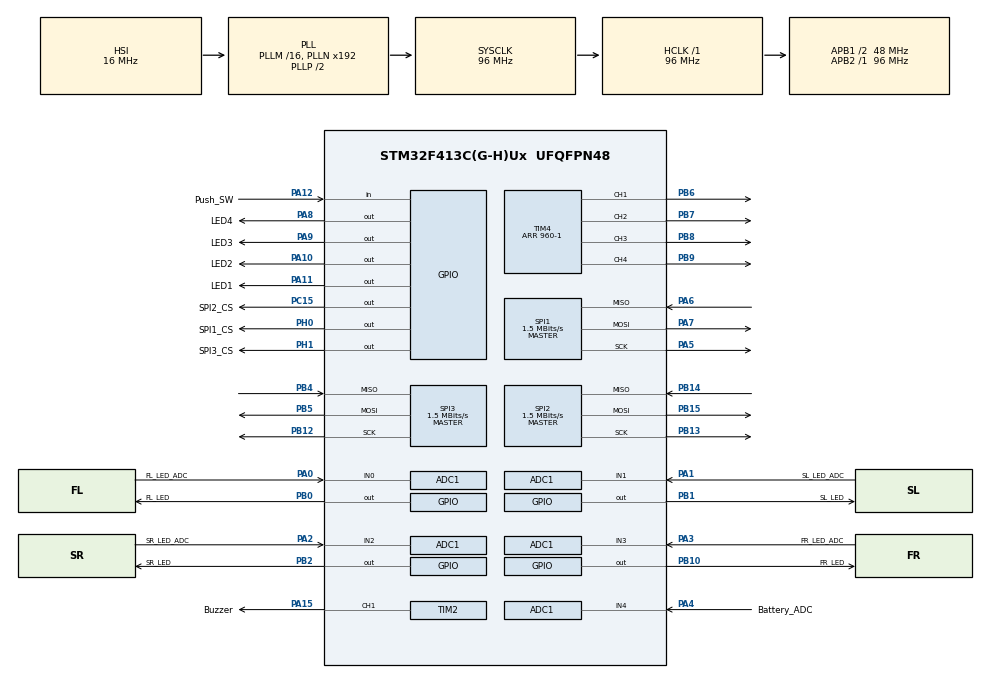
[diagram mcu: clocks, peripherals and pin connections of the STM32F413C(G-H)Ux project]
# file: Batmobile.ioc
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ADC1.Channel-0\#ChannelRegularConversion=ADC_CHANNEL_4
ADC1.Channel-1\#ChannelRegularConversion=ADC_CHANNEL_0
ADC1.Channel-2\#ChannelRegularConversion=ADC_CHANNEL_1
ADC1.Channel-3\#ChannelRegularConversion=ADC_CHANNEL_2
ADC1.Channel-4\#ChannelRegularConversion=ADC_CHANNEL_3
ADC1.DMAContinuousRequests=ENABLE
ADC1.EOCSelection=ADC_EOC_SEQ_CONV
ADC1.ExternalTrigConv=ADC_EXTERNALTRIGCONV_T1_CC3
ADC1.ExternalTrigConvEdge=ADC_EXTERNALTRIGCONVEDGE_RISINGFALLING
ADC1.NbrOfConversion=5
ADC1.NbrOfConversionFlag=1
ADC1.Rank-0\#ChannelRegularConversion=1
ADC1.Rank-1\#ChannelRegularConversion=2
ADC1.Rank-2\#ChannelRegularConversion=3
ADC1.Rank-3\#ChannelRegularConversion=4
ADC1.Rank-4\#ChannelRegularConversion=5
ADC1.SamplingTime-0\#ChannelRegularConversion=ADC_SAMPLETIME_56CYCLES
ADC1.SamplingTime-1\#ChannelRegularConversion=ADC_SAMPLETIME_56CYCLES
ADC1.SamplingTime-2\#ChannelRegularConversion=ADC_SAMPLETIME_56CYCLES
ADC1.SamplingTime-3\#ChannelRegularConversion=ADC_SAMPLETIME_56CYCLES
ADC1.SamplingTime-4\#ChannelRegularConversion=ADC_SAMPLETIME_56CYCLES
ADC1.ScanConvMode=ENABLE
ADC1.master=1
Dma.ADC1.2.Direction=DMA_PERIPH_TO_MEMORY
Dma.ADC1.2.FIFOMode=DMA_FIFOMODE_DISABLE
Dma.ADC1.2.Instance=DMA2_Stream0
Dma.ADC1.2.MemDataAlignment=DMA_MDATAALIGN_HALFWORD
Dma.ADC1.2.MemInc=DMA_MINC_ENABLE
Dma.ADC1.2.Mode=DMA_CIRCULAR
Dma.ADC1.2.PeriphDataAlignment=DMA_PDATAALIGN_HALFWORD
Dma.ADC1.2.PeriphInc=DMA_PINC_DISABLE
Dma.ADC1.2.Priority=DMA_PRIORITY_LOW
Dma.Request0=SPI2_RX
Dma.Request1=SPI2_TX
Dma.Request2=ADC1
Dma.SPI2_RX.0.Direction=DMA_PERIPH_TO_MEMORY
Dma.SPI2_RX.0.FIFOMode=DMA_FIFOMODE_DISABLE
Dma.SPI2_RX.0.Instance=DMA1_Stream3
Dma.SPI2_RX.0.MemDataAlignment=DMA_MDATAALIGN_BYTE
Dma.SPI2_RX.0.MemInc=DMA_MINC_ENABLE
Dma.SPI2_RX.0.Mode=DMA_NORMAL
Dma.SPI2_RX.0.PeriphDataAlignment=DMA_PDATAALIGN_BYTE
Dma.SPI2_RX.0.PeriphInc=DMA_PINC_DISABLE
Dma.SPI2_RX.0.Priority=DMA_PRIORITY_HIGH
Dma.SPI2_TX.1.Direction=DMA_MEMORY_TO_PERIPH
Dma.SPI2_TX.1.FIFOMode=DMA_FIFOMODE_DISABLE
Dma.SPI2_TX.1.Instance=DMA1_Stream4
Dma.SPI2_TX.1.MemDataAlignment=DMA_MDATAALIGN_BYTE
Dma.SPI2_TX.1.MemInc=DMA_MINC_ENABLE
Dma.SPI2_TX.1.Mode=DMA_NORMAL
Dma.SPI2_TX.1.PeriphDataAlignment=DMA_PDATAALIGN_BYTE
Dma.SPI2_TX.1.PeriphInc=DMA_PINC_DISABLE
Dma.SPI2_TX.1.Priority=DMA_PRIORITY_HIGH
Mcu.Family=STM32F4
Mcu.Name=STM32F413C(G-H)Ux
Mcu.Package=UFQFPN48
NVIC.DMA1_Stream3_IRQn=true\:0\:0\:true\:false\:true\:false\:true
NVIC.DMA1_Stream4_IRQn=true\:0\:0\:true\:false\:true\:false\:true
NVIC.DMA2_Stream0_IRQn=true\:0\:0\:false\:false\:true\:false\:true
NVIC.PriorityGroup=NVIC_PRIORITYGROUP_4
NVIC.TIM1_CC_IRQn=true\:0\:0\:true\:false\:true\:true\:true
NVIC.TIM6_DAC_IRQn=true\:1\:0\:true\:false\:true\:true\:true
PA0.GPIO_Label=FL_LED_ADC
PA0.Signal=ADCx_IN0
PA1.GPIO_Label=SL_LED_ADC
PA1.Signal=ADCx_IN1
PA10.GPIO_Label=LED2
PA10.Signal=GPIO_Output
PA11.GPIO_Label=LED1
PA11.Signal=GPIO_Output
PA12.GPIO_Label=Push_SW
PA12.Signal=GPIO_Input
PA13.Mode=Trace_Asynchronous_SW
PA13.Signal=SYS_JTMS-SWDIO
PA14.Mode=Trace_Asynchronous_SW
PA14.Signal=SYS_JTCK-SWCLK
PA15.GPIO_Label=Buzzer
PA15.GPIO_PuPd=GPIO_PULLDOWN
PA15.Signal=S_TIM2_CH1_ETR
PA2.GPIO_Label=SR_LED_ADC
PA2.Signal=ADCx_IN2
PA3.GPIO_Label=FR_LED_ADC
PA3.Signal=ADCx_IN3
PA4.GPIO_Label=Battery_ADC
PA4.Signal=ADCx_IN4
PA5.Mode=Full_Duplex_Master
PA5.Signal=SPI1_SCK
PA6.Mode=Full_Duplex_Master
PA6.Signal=SPI1_MISO
PA7.Mode=Full_Duplex_Master
PA7.Signal=SPI1_MOSI
PA8.GPIO_Label=LED4
PA8.Signal=GPIO_Output
PA9.GPIO_Label=LED3
PA9.Signal=GPIO_Output
PB0.GPIO_Label=FL_LED
PB0.Signal=GPIO_Output
PB1.GPIO_Label=SL_LED
PB1.Signal=GPIO_Output
PB10.GPIO_Label=FR_LED
PB10.Signal=GPIO_Output
PB12.Mode=Full_Duplex_Master
PB12.Signal=SPI3_SCK
PB13.Mode=Full_Duplex_Master
PB13.Signal=SPI2_SCK
PB14.Mode=Full_Duplex_Master
PB14.Signal=SPI2_MISO
PB15.Mode=Full_Duplex_Master
PB15.Signal=SPI2_MOSI
PB2.GPIO_Label=SR_LED
PB2.Signal=GPIO_Output
PB3.Mode=Trace_Asynchronous_SW
PB3.Signal=SYS_JTDO-SWO
PB4.Mode=Full_Duplex_Master
PB4.Signal=SPI3_MISO
PB5.Mode=Full_Duplex_Master
PB5.Signal=SPI3_MOSI
PB6.Signal=S_TIM4_CH1
PB7.Signal=S_TIM4_CH2
PB8.Signal=S_TIM4_CH3
PB9.Signal=S_TIM4_CH4
PC15-OSC32_OUT.GPIO_Label=SPI2_CS
PC15-OSC32_OUT.GPIO_ModeDefaultOutputPP=GPIO_MODE_OUTPUT_PP
PC15-OSC32_OUT.GPIO_PuPd=GPIO_PULLUP
PC15-OSC32_OUT.PinState=GPIO_PIN_SET
PC15-OSC32_OUT.Signal=GPIO_Output
PH0\ -\ OSC_IN.GPIO_Label=SPI1_CS
PH0\ -\ OSC_IN.GPIO_ModeDefaultOutputPP=GPIO_MODE_OUTPUT_PP
PH0\ -\ OSC_IN.GPIO_PuPd=GPIO_PULLUP
PH0\ -\ OSC_IN.GPIO_Speed=GPIO_SPEED_FREQ_VERY_HIGH
PH0\ -\ OSC_IN.PinState=GPIO_PIN_SET
PH0\ -\ OSC_IN.Signal=GPIO_Output
PH1\ -\ OSC_OUT.GPIO_Label=SPI3_CS
PH1\ -\ OSC_OUT.GPIO_ModeDefaultOutputPP=GPIO_MODE_OUTPUT_PP
PH1\ -\ OSC_OUT.GPIO_PuPd=GPIO_PULLUP
PH1\ -\ OSC_OUT.GPIO_Speed=GPIO_SPEED_FREQ_VERY_HIGH
PH1\ -\ OSC_OUT.PinState=GPIO_PIN_SET
PH1\ -\ OSC_OUT.Signal=GPIO_Output
ProjectManager.HeapSize=0x200
ProjectManager.StackSize=0x400
ProjectManager.TargetToolchain=STM32CubeIDE
RCC.AHBFreq_Value=96000000
RCC.APB1CLKDivider=RCC_HCLK_DIV2
RCC.APB1Freq_Value=48000000
RCC.APB1TimFreq_Value=96000000
RCC.APB2Freq_Value=96000000
RCC.APB2TimFreq_Value=96000000
RCC.CortexFreq_Value=96000000
RCC.HCLKFreq_Value=96000000
RCC.SYSCLKFreq_VALUE=96000000
RCC.SYSCLKSource=RCC_SYSCLKSOURCE_PLLCLK
RCC.USBFreq_Value=96000000
RCC.VCOOutputFreq_Value=192000000
SH.ADCx_IN0.0=ADC1_IN0,IN0
SH.ADCx_IN1.0=ADC1_IN1,IN1
SH.ADCx_IN2.0=ADC1_IN2,IN2
SH.ADCx_IN3.0=ADC1_IN3,IN3
SH.ADCx_IN4.0=ADC1_IN4,IN4
SH.S_TIM2_CH1_ETR.0=TIM2_CH1,PWM Generation1 CH1
SH.S_TIM4_CH1.0=TIM4_CH1,PWM Generation1 CH1
SH.S_TIM4_CH2.0=TIM4_CH2,PWM Generation2 CH2
SH.S_TIM4_CH3.0=TIM4_CH3,PWM Generation3 CH3
SH.S_TIM4_CH4.0=TIM4_CH4,PWM Generation4 CH4
SPI1.BaudRatePrescaler=SPI_BAUDRATEPRESCALER_64
SPI1.CLKPhase=SPI_PHASE_2EDGE
SPI1.CLKPolarity=SPI_POLARITY_HIGH
SPI1.CalculateBaudRate=1.5 MBits/s
SPI1.DataSize=SPI_DATASIZE_8BIT
SPI1.Direction=SPI_DIRECTION_2LINES
SPI1.Mode=SPI_MODE_MASTER
SPI1.VirtualType=VM_MASTER
SPI2.BaudRatePrescaler=SPI_BAUDRATEPRESCALER_32
SPI2.CLKPhase=SPI_PHASE_2EDGE
SPI2.CLKPolarity=SPI_POLARITY_HIGH
SPI2.CalculateBaudRate=1.5 MBits/s
SPI2.Direction=SPI_DIRECTION_2LINES
SPI2.Mode=SPI_MODE_MASTER
SPI2.VirtualType=VM_MASTER
SPI3.BaudRatePrescaler=SPI_BAUDRATEPRESCALER_32
SPI3.CLKPhase=SPI_PHASE_2EDGE
SPI3.CLKPolarity=SPI_POLARITY_HIGH
SPI3.CalculateBaudRate=1.5 MBits/s
SPI3.DataSize=SPI_DATASIZE_8BIT
SPI3.Direction=SPI_DIRECTION_2LINES
SPI3.Mode=SPI_MODE_MASTER
SPI3.VirtualType=VM_MASTER
TIM1.Channel-Output\ Compare1\ No\ Output=TIM_CHANNEL_1
TIM1.Channel-Output\ Compare2\ No\ Output=TIM_CHANNEL_2
TIM1.Channel-Output\ Compare3\ No\ Output=TIM_CHANNEL_3
TIM1.OCMode_1=TIM_OCMODE_TOGGLE
TIM1.OCMode_2=TIM_OCMODE_TOGGLE
TIM1.OCMode_3=TIM_OCMODE_TOGGLE
TIM1.Period=64000-1
TIM1.Pulse-Output\ Compare1\ No\ Output=2
TIM1.Pulse-Output\ Compare2\ No\ Output=9600
TIM1.Pulse-Output\ Compare3\ No\ Output=5760
TIM2.Channel-PWM\ Generation1\ CH1=TIM_CHANNEL_1
TIM2.OCMode_PWM-PWM\ Generation1\ CH1=TIM_OCMODE_PWM2
TIM2.OCPolarity_1=TIM_OCPOLARITY_LOW
TIM2.Period=100
TIM2.Prescaler=960-1
TIM4.Channel-PWM\ Generation1\ CH1=TIM_CHANNEL_1
TIM4.Channel-PWM\ Generation2\ CH2=TIM_CHANNEL_2
TIM4.Channel-PWM\ Generation3\ CH3=TIM_CHANNEL_3
TIM4.Channel-PWM\ Generation4\ CH4=TIM_CHANNEL_4
TIM4.OCMode_PWM-PWM\ Generation1\ CH1=TIM_OCMODE_PWM2
TIM4.OCMode_PWM-PWM\ Generation2\ CH2=TIM_OCMODE_PWM2
TIM4.OCMode_PWM-PWM\ Generation3\ CH3=TIM_OCMODE_PWM2
TIM4.OCMode_PWM-PWM\ Generation4\ CH4=TIM_OCMODE_PWM2
TIM4.Period=960-1
TIM6.Period=24000-1
TIM6.Prescaler=4-1
VP_TIM1_VS_ClockSourceINT.Mode=Internal
VP_TIM1_VS_no_output1.Mode=Output Compare1 No Output
VP_TIM1_VS_no_output2.Mode=Output Compare2 No Output
VP_TIM1_VS_no_output3.Mode=Output Compare3 No Output
VP_TIM2_VS_ClockSourceINT.Mode=Internal
VP_TIM4_VS_ClockSourceINT.Mode=Internal
VP_TIM6_VS_ClockSourceINT.Mode=Enable_Timer
board=custom

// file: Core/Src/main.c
/* USER CODE BEGIN Header */
/**
  ******************************************************************************
  * @file           : main.c
  * @brief          : Main program body
  ******************************************************************************
  * @attention
  *
  * <h2><center>&copy; Copyright (c) 2020 STMicroelectronics.
  * All rights reserved.</center></h2>
  *
  * This software component is licensed by ST under BSD 3-Clause license,
  * the "License"; You may not use this file except in compliance with the
  * License. You may obtain a copy of the License at:
  *                        opensource.org/licenses/BSD-3-Clause
  *
  ******************************************************************************
  */
/* USER CODE END Header */

#include "main.h"
#include "adc.h"
#include "dma.h"
#include "spi.h"
#include "tim.h"
#include "gpio.h"

/* USER CODE BEGIN Includes */
#include"index.h"
#include "maze_init.h"
#include "maze_solve.h"
/* USER CODE END Includes */

/* USER CODE BEGIN PTD */
typedef enum {
	search_mode 	= 0,
 	fust_run_mode 	= 1,
} maze_search_flg;

/* USER CODE END PTD */

void SystemClock_Config(void);

/* USER CODE BEGIN 0 */
uint8_t temp[2];
int16_t temp1;
/* USER CODE END 0 */

int main(void)
{
  /* USER CODE BEGIN 1 */
//	char temp_str[200];
	  /*迷路変数定義*/
//	  static uint8_t maze_x_size = x_size;//x方向の壁の枚数(x方向のマスの数+1)
//	  static uint8_t maze_y_size = y_size;//y方向の壁の枚数(y方向のマスの数+1)
//	  static uint8_t goal_size = g_size; //ゴールのマスの数
//	  static uint8_t maze_goal[18] = goal_cordinate;
//	  static uint8_t m_wall_tmp[1024];//迷路情報格納用配列
//	  static uint8_t m_search_tmp[1024];//探索情報格納用配列

	//static uint8_t run_mode = search_mode;
//	uint8_t maze_data_mode = 0;
  /* USER CODE END 1 */

  /* MCU Configuration--------------------------------------------------------*/

  /* Reset of all peripherals, Initializes the Flash interface and the Systick. */
  HAL_Init();

  /* USER CODE BEGIN Init */
int16_t i = 0;
  /* USER CODE END Init */

  /* Configure the system clock */
  SystemClock_Config();

  /* Initialize all configured peripherals */
  MX_GPIO_Init();
  MX_DMA_Init();
  MX_ADC1_Init();
  MX_SPI1_Init();
  MX_SPI2_Init();
  MX_SPI3_Init();
  MX_TIM4_Init();
  MX_TIM6_Init();
  MX_TIM2_Init();
  MX_TIM1_Init();
  /* USER CODE BEGIN 2 */
  SEGGER_RTT_Init();
  IMU_Initialize();
  TIM2_PWM_START();
  Motor_Initialize();
  Interrupt_Initialize();

  /* USER CODE END 2 */

  /* Infinite loop */
  while (1)
  {

    /* USER CODE BEGIN 3 */

//	  	  while(1){
//	  		  	  IMU_Receive();
//	  		  	  IMU_GetGyro_Z();
//	  		  	  IMU_GetAccel_X();
//	  		  	  snprintf(temp_str,200,"%f,%f\r\n",
//	  		  						  IMU_GetGyro_Z(),
//	  		  						  IMU_GetAccel_X());
//	  		  	 SEGGER_RTT_WriteString(0,temp_str);
//	  		  	 HAL_Delay(500);
//	  	  }
	  	  mode_main();//モードの選定、開始処理

	  	  /*ここからモードごとの処理に移行*/
		  switch(get_mode_number()){

		  case 0:
			  //__disable_irq();
		  	  data_read();
		  	  //__enable_irq();
			  break;

		    case 1:
		    	log_init();
		    			set_duty_l(100);
		    			set_duty_r(100);
		    			Indicator_number(8);
		    			HAL_Delay(1100);

		    	break;

		    case 2:
		        log_init();
		        half_deceleration();
		        HAL_Delay(1000);
		    	break;

		  case 3:
			  	log_init();
			  	init_target_turn_param();

			  	move_turn_pattern(turn_s90, PI/2);
			  break;

		  case 4:
				set_mode_ctrl(front_wall); 		//制御モードを前壁補正モードに
				while(1){

				}
			  break;

		  case 5:
			  log_init();
			  run_mode_3 = 0; //走行モード3と仮定
			  init_target_turn_param(); //走行モード3に応じたパラメータ設定
			  set_mode_ctrl(trace);
			  constant_speed(2*0.09, straight, 0.3);
			  slalom_conclock_s90(0);
			  constant_speed(2*0.09, straight, 0.0);
			  set_target_move_param(straight, 0.0, 0.0);//目標距離を0として、停止

		      HAL_Delay(1000);
			  break;

		  case 6:
			  log_init();
			  run_mode_3 = 0; //走行モード3と仮定
			  init_target_turn_param(); //走行モード3に応じたパラメータ設定
			  set_mode_ctrl(trace);
			  constant_speed(2*0.09, straight, 0.3);
			  slalom_clock_s90(0);
			  constant_speed(2*0.09, straight, 0.0);
			  set_target_move_param(straight, 0.0, 0.0);//目標距離を0として、停止

		      HAL_Delay(1000);
			  break;

		  case 7://モジュールテスト
			  module_test();
			  break;

		  case 8://FF用テスト
			  log_init();
			  temp1 = 100;//最高duty
			  		    	for(i = 0.5*temp1;i<temp1;i++){
			  		    			set_duty_l(i);
			  		    			set_duty_r(i);
			  		    			HAL_Delay(10);
			  		    	}
			  		    	HAL_Delay(1000);
			  		    	for(i = temp1;i>0.5*temp1;i--){
			  		    			set_duty_l(i);
			  		    			set_duty_r(i);
			  		    			HAL_Delay(10);
			  		    	}
			  		    	HAL_Delay(1000);
			  		    	for(i = 0.5*temp1;i>0;i--){
			  		    			set_duty_l(i);
			  		    			set_duty_r(i);
			  		    			HAL_Delay(10);
			  		    	}
			  		    	HAL_Delay(3000);
			  break;

		  case 13: //迷路データ初期化
			  maze_init(maze_data.maze_y_size, maze_data.maze_x_size, maze_data.m_wall_tmp, maze_data.m_search_tmp);
			  break;

		  case 14:	//迷路走行

			  //フェイルセーフ有効化
			  set_failsafe_flg(1);
			  //探索時、迷路情報を初期化
			  //run_mode3を暫定的に既存迷路を読むか読まないかの設定に。0のとき読まない。（初期化）
			  if (run_mode_1 == search && run_mode_3 == 0){
				  maze_init(maze_data.maze_y_size, maze_data.maze_x_size, maze_data.m_wall_tmp, maze_data.m_search_tmp);
			  }else{ //最短時、ロムの迷路データ呼び出し
				  loadFlash(start_address, (uint8_t*)&maze_data, sizeof(maze_data_t));
			  }
			  //走行パラメータの初期化
			  init_target_turn_param();
			  //マウスの初期化
			  mouse_reset();
			  //ログ開始
			  log_init();
			  //決定されたモードで走行
			  maze_solve(maze_data.m_wall_tmp, maze_data.m_search_tmp, maze_data.maze_y_size, maze_data.maze_x_size,
					  	  maze_data.goal_size,maze_data.maze_goal, run_mode_1,run_mode_2,maze_data.contour_map,maze_data.row_num_node,maze_data.col_num_node);
			  //走行完了時、迷路をほぞん
			  //flash書き込み時、dmaを停止する必要がある。ため、ADC結果のDMA停止
				//割り込み停止
				 HAL_TIM_Base_Stop_IT(&htim6);
				 //ジャイロ更新停止
				 IMU_refresh_flg = 0;
				 HAL_Delay(10);
			    //C���Ŗ��H�f�[�^�L�^���������邱�ƁB
				  //ADCのDMA停止
				  Sensor_StopADC();
				  //現在の迷路情報をromに書き込み
				  writeFlash(start_address, (uint8_t*)&maze_data, sizeof(maze_data_t));
				  //ADCのDMA再開
				  Sensor_StartADC();
				  //ジャイロ初期化
				  IMU_Initialize();
				  //マウスをリセット
				  mouse_reset();
				  //割り込み再開
				  HAL_TIM_Base_Start_IT( &htim6 );
			  break;

		  case 15:	//迷路データの書き込み、読み込み、消去
//			  maze_data_mode = 0;

//			  while(!button_state){
//				  maze_data_mode = select_num_r_tire (maze_data_mode);
//				  Indicator_number(maze_data_mode);
//			  }
//
//			  for(int i=0; i<2; i++){ // モード処理終了時、LEDを2回点灯
//				  LED_ALL_ON();
//				  HAL_Delay(100);
//				  LED_ALL_OFF();
//				  HAL_Delay(200);
//			  }

			  switch(rom_mode){
			  case 0://ROMに記録した迷路データの出力
				  loadFlash(start_address, (uint8_t*)&maze_data, sizeof(maze_data_t));
				  maze_data_output();
				  break;
			  case 1://読み込み
				  loadFlash(start_address, (uint8_t*)&maze_data, sizeof(maze_data_t));
				  break;
			  case 2://書き込み
				  writeFlash(start_address, (uint8_t*)&maze_data, sizeof(maze_data_t));
				  break;
			  case 3://消去
				  eraseFlash()	;
				  break;
			  case 4://迷路データの初期化
				  maze_init(maze_data.maze_y_size, maze_data.maze_x_size, maze_data.m_wall_tmp, maze_data.m_search_tmp);
				  break;
			  }

			  break;
		  }

		  //モード終了処理
		  clr_mode_state();
		  Sensor_StopADC();
		  set_duty_r(0);	//motor_r 停止
		  set_duty_l(0);	//motor_l 停止

		  for(int i=0; i<3; i++){ // モード処理終了時、LEDを3回点灯
			  LED_ALL_ON();
			  HAL_Delay(100);
			  LED_ALL_OFF();
			  HAL_Delay(100);
		  }

	  HAL_Delay(100);
  }
  /* USER CODE END 3 */
}

void SystemClock_Config(void)
{
  RCC_OscInitTypeDef RCC_OscInitStruct = {0};
  RCC_ClkInitTypeDef RCC_ClkInitStruct = {0};

  /** Configure the main internal regulator output voltage
  */
  __HAL_RCC_PWR_CLK_ENABLE();
  __HAL_PWR_VOLTAGESCALING_CONFIG(PWR_REGULATOR_VOLTAGE_SCALE1);
  /** Initializes the CPU, AHB and APB busses clocks
  */
  RCC_OscInitStruct.OscillatorType = RCC_OSCILLATORTYPE_HSI;
  RCC_OscInitStruct.HSIState = RCC_HSI_ON;
  RCC_OscInitStruct.HSICalibrationValue = RCC_HSICALIBRATION_DEFAULT;
  RCC_OscInitStruct.PLL.PLLState = RCC_PLL_ON;
  RCC_OscInitStruct.PLL.PLLSource = RCC_PLLSOURCE_HSI;
  RCC_OscInitStruct.PLL.PLLM = 16;
  RCC_OscInitStruct.PLL.PLLN = 192;
  RCC_OscInitStruct.PLL.PLLP = RCC_PLLP_DIV2;
  RCC_OscInitStruct.PLL.PLLQ = 2;
  RCC_OscInitStruct.PLL.PLLR = 2;
  if (HAL_RCC_OscConfig(&RCC_OscInitStruct) != HAL_OK)
  {
    Error_Handler();
  }
  /** Initializes the CPU, AHB and APB busses clocks
  */
  RCC_ClkInitStruct.ClockType = RCC_CLOCKTYPE_HCLK|RCC_CLOCKTYPE_SYSCLK
                              |RCC_CLOCKTYPE_PCLK1|RCC_CLOCKTYPE_PCLK2;
  RCC_ClkInitStruct.SYSCLKSource = RCC_SYSCLKSOURCE_PLLCLK;
  RCC_ClkInitStruct.AHBCLKDivider = RCC_SYSCLK_DIV1;
  RCC_ClkInitStruct.APB1CLKDivider = RCC_HCLK_DIV2;
  RCC_ClkInitStruct.APB2CLKDivider = RCC_HCLK_DIV1;

  if (HAL_RCC_ClockConfig(&RCC_ClkInitStruct, FLASH_LATENCY_3) != HAL_OK)
  {
    Error_Handler();
  }
}

/* USER CODE BEGIN 4 */
//各処理の変数をクリアする。
void mouse_reset(void){
	clr_adjust();
	clr_control();
	clr_exvol();
	clr_imu();
	clr_mouse_state();
	clr_target();
}

/* USER CODE END 4 */

void Error_Handler(void)
{
}

/************************ (C) COPYRIGHT STMicroelectronics *****END OF FILE****/
